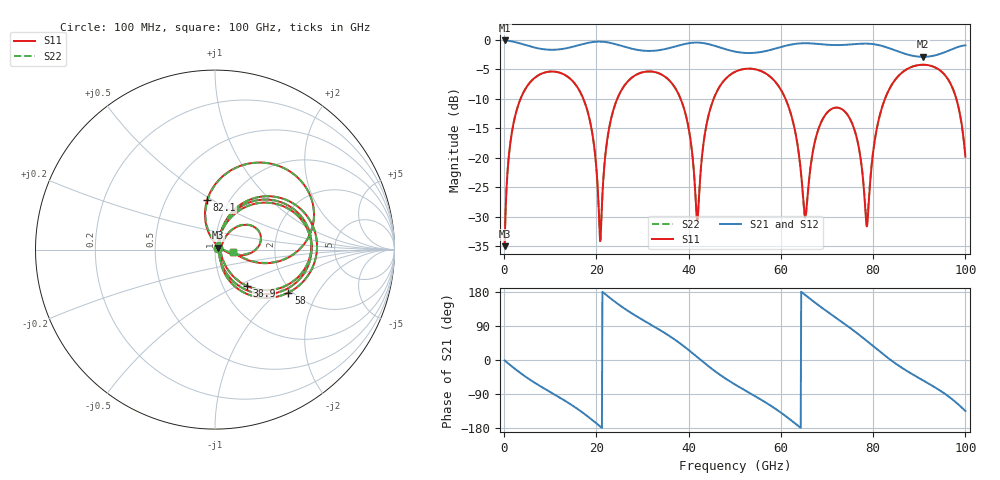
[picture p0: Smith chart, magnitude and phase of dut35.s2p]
! Touchstone file exported from HFSS 2026.1.0
!  File:  C:/ffzhzh/LocalFiles/Ansys_Project_Files/temp_train_TSV_RDL_35_1783617889_33328.aedt
!  Generated:  01:32:06 AM Jul 10, 2026
!  Design:  TSV_RDL
!  Project:  temp_train_TSV_RDL_35_1783617889_33328
! Variables:
!  h_bsmrdl = 4.86um
!  h_ox = 20um
!  h_rdl = 5um
!  h_sub = 71.47um
!  h_tmrdl = 2.04um
!  h_tsv = 71.47um
!  h_via = 3um
!  l_bsmrdl = 487.6um
!  l_sub = 2833.62um
!  l_tmrdl = 212.96um
!  m_sub = 200um
!  pitch = 51.04um
!  r_tsv = 9.53um
!  s_tmrdl = 10um
!  w_bsmrdl = 19.63um
!  w_sub = 500um
!  w_tmrdl = 20.03um
!  x_tsv_center1 = 222.975um
!  x_tsv_center2 = 730.205um
!  x_tsv_center3 = 963.195um
!  x_tsv_center4 = 1470.425um
!  x_tsv_center5 = 1703.415um
!  x_tsv_center6 = 2210.645um
# GHz S MA R 50.000000
! Terminal data exported
! Port[1] = TM_RDL1_1_T1
! Port[2] = TM_RDL5_1_T1
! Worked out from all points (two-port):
!   1000 points, 100 MHz to 100 GHz, reference 50 ohm
!   highest |S21| = -0.13 dB at 100 MHz (marker M1); lowest = -2.9 dB at 90.8 GHz (marker M2)
!   |S21| within 3 dB of the highest: start of sweep to end of sweep
!   lowest |S11| = -35.0 dB at 100 MHz (marker M3), VSWR 1.04, Z = 51.5 + j1.08 ohm
!   |S11| at or under -10 dB: 17.17 GHz to 24.53 GHz (7.359 GHz wide, 35.3 % of centre); 38.25 GHz to 45.43 GHz (7.172 GHz wide, 17.1 % of centre); 60.99 GHz to 82.57 GHz (21.58 GHz wide, 30.1 % of centre) (the widest 3 of 5)
!   |S22| runs from -35.0 to -4.2 dB; largest |S21 - S12| = 1.2e-13
!   S11 on the Smith chart (normalised r, x): 100 MHz: 1.03, +0.02; 38.9 GHz: 1.29, -0.56; 58 GHz: 1.91, -1.18; 82.1 GHz: 0.79, +0.48; 100 GHz: 1.23, -0.03
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0.1  0.01788 35.8  0.9856 -1.1  0.9856 -1.1  0.01788 35.8
! Gamma 0 0 0 0
! Port Impedance 50 0 50 0
1.6  0.1576 67.0  0.969 -16.2  0.969 -16.2  0.1576 67.0
4.6  0.383 43.1  0.9021 -43.7  0.9021 -43.7  0.383 43.1
16.8  0.3411 -45.8  0.9126 -136.8  0.9126 -136.8  0.3411 -45.8
20.8  0.01976 -6.4  0.9635 -175.2  0.9635 -175.2  0.01969 -6.6
24.5  0.3144 55.2  0.9091 149.3  0.9091 149.3  0.3143 55.3
33.4  0.5221 -8.4  0.8135 81.8  0.8135 81.8  0.522 -8.2
38.9  0.2687 -48.9  0.9152 36.8  0.9152 36.8  0.2687 -48.6
41.9  0.02921 12.1  0.9457 7.3  0.9457 7.3  0.0305 12.2
44.7  0.2606 63.0  0.9098 -20.3  0.9098 -20.3  0.2608 62.8
50.1  0.5357 23.2  0.7922 -64.9  0.7922 -64.9  0.5357 23.2
58  0.4743 -30.4  0.8248 -122.2  0.8248 -122.2  0.4741 -30.3
62.5  0.2111 -63.5  0.9142 -161.8  0.9142 -161.8  0.2109 -63.6
65.2  0.03242 -17.5  0.9342 172.2  0.9342 172.2  0.03158 -17.5
66.7  0.09995 50.6  0.9299 157.9  0.9299 157.9  0.09974 51.3
73.8  0.2477 5.6  0.9045 95.4  0.9045 95.4  0.2477 6.3
78.6  0.02632 41.8  0.9265 50.6  0.9265 50.6  0.0299 43.2
82.1  0.2807 98.9  0.8818 15.9  0.8818 15.9  0.2814 98.3
83.4  0.3747 88.5  0.849 3.6  0.849 3.6  0.3752 88.1
90.8  0.6138 36.0  0.7164 -53.7  0.7164 -53.7  0.6139 35.9
96.8  0.4228 -5.0  0.8211 -100.3  0.8211 -100.3  0.4228 -4.8
100  0.1022 -7.2  0.8965 -134.6  0.8965 -134.6  0.1034 -6.0
